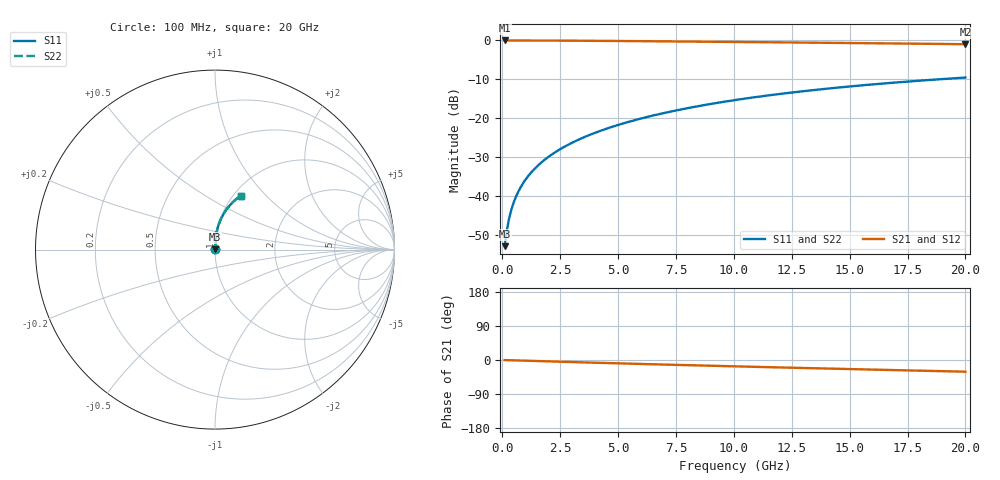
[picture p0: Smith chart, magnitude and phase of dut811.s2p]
! Touchstone file exported from HFSS 2024.1.0
!  File:  C:/UserFiles/LocalFiles/RDL_TSV_Batchsim/temp_RDL_top_811_1779854184.aedt
!  Generated:  11:58:44 AM May 27, 2026
!  Design:  RDL_top
!  Project:  temp_RDL_top_811_1779854184
!  Setup:  Setup1
!  Solution:  Sweep
! Variables:
!  dtsv = 10.80580581um
!  hbump = 3um
!  htsv = 51.11um
!  ldown = 100um
!  lrdl = 397.73um
!  p = 40
!  p1 = 57.53um
!  rhole = 1um
!  t = 450um
!  tdown = 3.915915916um
!  trdl = 4.95um
!  wdown = 15.38538539um
!  wrdl = 20.3um
# GHz S MA R 50.000000
! Terminal data exported
! Port[1] = Box2_T1
! Port[2] = Box2_T2
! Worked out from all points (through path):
!   200 points, 100 MHz to 20 GHz, reference 50 ohm
!   highest |S21| = -0.01 dB at 100 MHz (marker M1); lowest = -1.0 dB at 20 GHz (marker M2)
!   group delay of S21, straight-line fit = 4.24 ps
!   lowest |S11| = -52.8 dB at 100 MHz (marker M3), VSWR 1.00, Z = 50.2 + j0.17 ohm
!   |S11| at or under -10 dB: start of sweep to 18.81 GHz
!   |S22| runs from -52.8 to -9.5 dB; largest |S21 - S12| = 4.5e-15
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0.1  0.002291 47.6  0.9984 -0.2  0.9984 -0.2  0.002291 47.6
! Gamma 0 0 0 0
! Port Impedance 50 0 50 0
0.2  0.003729 64.7  0.9984 -0.4  0.9984 -0.4  0.003729 64.7
0.3  0.005292 71.6  0.9982 -0.6  0.9982 -0.6  0.005292 71.6
0.4  0.006876 75.3  0.9981 -0.7  0.9981 -0.7  0.006876 75.3
0.5  0.008456 77.5  0.998 -0.9  0.998 -0.9  0.008456 77.5
0.7  0.0116 80.2  0.9978 -1.3  0.9978 -1.3  0.0116 80.2
0.8  0.01317 81.2  0.9977 -1.5  0.9977 -1.5  0.01317 81.2
1  0.0163 82.5  0.9974 -1.8  0.9974 -1.8  0.0163 82.5
1.2  0.01944 83.5  0.997 -2.2  0.997 -2.2  0.01944 83.4
1.4  0.0226 84.1  0.9966 -2.6  0.9966 -2.6  0.0226 84.1
1.7  0.02736 84.9  0.996 -3.1  0.996 -3.1  0.02736 84.9
2  0.03217 85.4  0.9952 -3.7  0.9952 -3.7  0.03216 85.4
2.7  0.04351 86.0  0.993 -4.9  0.993 -4.9  0.04351 86.0
3.5  0.05673 86.1  0.99 -6.3  0.99 -6.3  0.05673 86.1
4.2  0.06852 85.8  0.9869 -7.5  0.9869 -7.5  0.06852 85.8
5  0.08223 85.4  0.9831 -8.8  0.9831 -8.8  0.08223 85.4
6.8  0.1138 83.6  0.9737 -11.8  0.9737 -11.8  0.1138 83.6
8.4  0.1423 81.6  0.9649 -14.3  0.9649 -14.3  0.1423 81.6
10.1  0.1725 79.2  0.9552 -16.9  0.9552 -16.9  0.1725 79.2
13.4  0.2298 74.2  0.9358 -21.7  0.9358 -21.7  0.2298 74.2
16.7  0.2838 69.2  0.9154 -26.4  0.9154 -26.4  0.2838 69.2
20  0.3338 64.4  0.8943 -30.8  0.8943 -30.8  0.3337 64.4
